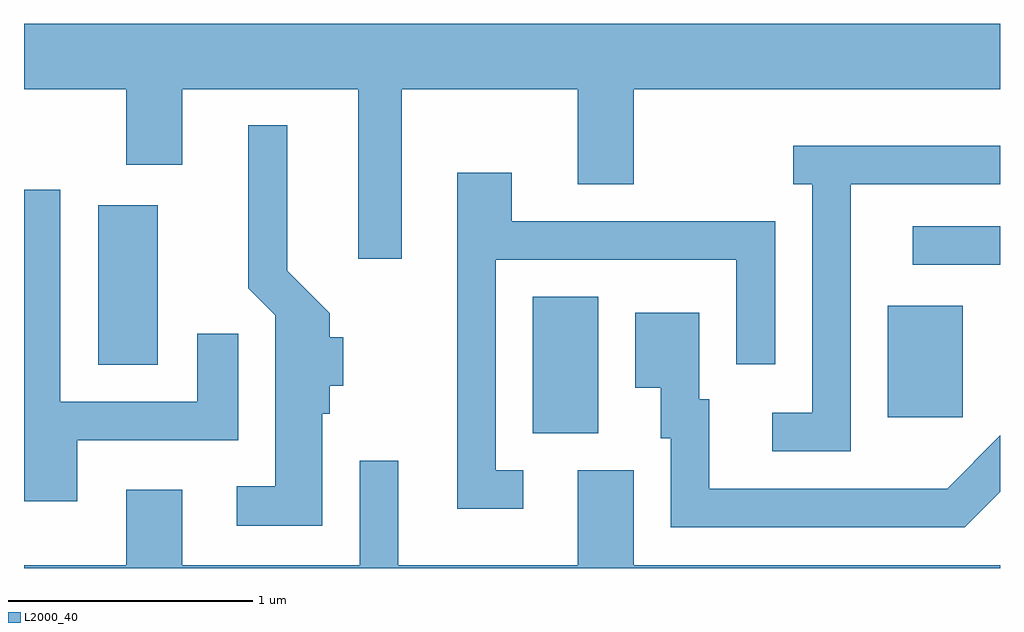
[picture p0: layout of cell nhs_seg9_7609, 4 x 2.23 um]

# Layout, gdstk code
import gdstk
lib = gdstk.Library(unit=1e-6, precision=1e-09)
def R(c, l, rs):  # rectangles x0, y0, x1, y1
    for r in rs: c.add(gdstk.rectangle(r[:2], r[2:], *l))
def P(c, l, *ps):  # polygons
    for p in ps: c.add(gdstk.Polygon(p, *l))
L2000_40 = (2000, 40)

nhs_seg9_7609 = lib.new_cell('nhs_seg9_7609')
R(nhs_seg9_7609, L2000_40, [(411.696,2076.986,411.964,2077.544), (413.151,2077.051,413.459,2077.509), (409.916,2077.266,410.159,2077.919), (413.253,2077.676,413.611,2077.834)])
P(nhs_seg9_7609, L2000_40, [(411.159,2078.396),(411.881,2078.396),(411.881,2078.006),(412.109,2078.006),(412.109,2078.396),(413.611,2078.396),(413.611,2078.664),(409.611,2078.664),(409.611,2078.396),(410.031,2078.396),(410.031,2078.086),(410.259,2078.086),(410.259,2078.396),(410.981,2078.396),(410.981,2077.701),(411.159,2077.701)],
  [(410.834,2077.066),(410.864,2077.066),(410.864,2077.181),(410.919,2077.181),(410.919,2077.379),(410.864,2077.379),(410.864,2077.477),(410.689,2077.652),(410.689,2078.248),(410.531,2078.248),(410.531,2077.579),(410.641,2077.469),(410.641,2076.769),(410.483,2076.769),(410.483,2076.606),(410.834,2076.606)],
  [(412.999,2078.006),(413.611,2078.006),(413.611,2078.164),(412.763,2078.164),(412.763,2078.006),(412.841,2078.006),(412.841,2077.069),(412.678,2077.069),(412.678,2076.911),(412.999,2076.911)],
  [(411.658,2076.834),(411.544,2076.834),(411.544,2077.696),(412.531,2077.696),(412.531,2077.268),(412.689,2077.268),(412.689,2077.854),(411.609,2077.854),(411.609,2078.054),(411.386,2078.054),(411.386,2076.676),(411.658,2076.676)],
  [(409.829,2076.956),(410.489,2076.956),(410.489,2077.393),(410.321,2077.393),(410.321,2077.114),(409.759,2077.114),(409.759,2077.984),(409.611,2077.984),(409.611,2076.706),(409.829,2076.706)],
  [(413.611,2076.745),(413.611,2076.977),(413.394,2076.759),(412.419,2076.759),(412.419,2077.124),(412.379,2077.124),(412.379,2077.479),(412.116,2077.479),(412.116,2077.171),(412.221,2077.171),(412.221,2076.966),(412.261,2076.966),(412.261,2076.601),(413.467,2076.601)],
  [(413.611,2076.444),(412.109,2076.444),(412.109,2076.834),(411.881,2076.834),(411.881,2076.444),(411.144,2076.444),(411.144,2076.873),(410.986,2076.873),(410.986,2076.444),(410.259,2076.444),(410.259,2076.754),(410.031,2076.754),(410.031,2076.444),(409.611,2076.444),(409.611,2076.432),(413.611,2076.432)])

lib.write_gds('nhs_seg9_7609.gds')
